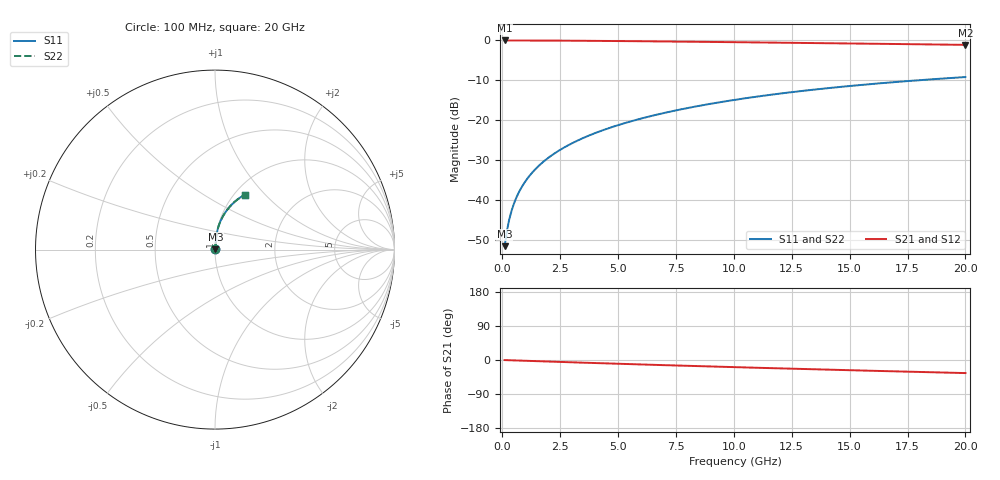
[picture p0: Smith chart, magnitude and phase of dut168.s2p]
! Touchstone file exported from HFSS 2024.1.0
!  File:  C:/UserFiles/LocalFiles/RDL_TSV_Batchsim/temp_RDL_bottom_168_1778698145.aedt
!  Generated:  02:51:33 AM May 14, 2026
!  Design:  RDL_bottom
!  Project:  temp_RDL_bottom_168_1778698145
!  Setup:  Setup1
!  Solution:  Sweep
! Variables:
!  dtsv = 10.80580581um
!  hbump = 3um
!  htsv = 75.31um
!  ldown = 458.76um
!  lrdl = 100um
!  p = 40
!  p1 = 54.25um
!  rhole = 1um
!  t = 450um
!  tdown = 4.39um
!  trdl = 3.915915916um
!  wdown = 20.61um
!  wrdl = 20um
# GHz S MA R 50.000000
! Terminal data exported
! Port[1] = RDL1_T1
! Port[2] = RDL1_T2
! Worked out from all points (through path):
!   200 points, 100 MHz to 20 GHz, reference 50 ohm
!   highest |S21| = -0.02 dB at 100 MHz (marker M1); lowest = -1.1 dB at 20 GHz (marker M2)
!   group delay of S21, straight-line fit = 4.76 ps
!   lowest |S11| = -51.4 dB at 100 MHz (marker M3), VSWR 1.01, Z = 50.2 + j0.184 ohm
!   |S11| at or under -10 dB: start of sweep to 17.89 GHz
!   |S22| runs from -51.4 to -9.2 dB; largest |S21 - S12| = 5.1e-15
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0.1  0.002677 43.1  0.998 -0.2  0.998 -0.2  0.002677 43.1
! Gamma 0 0 0 0
! Port Impedance 50 0 50 0
0.2  0.004154 60.6  0.9979 -0.4  0.9979 -0.4  0.004154 60.6
0.3  0.005774 68.2  0.9978 -0.6  0.9978 -0.6  0.005774 68.2
0.4  0.007416 72.4  0.9977 -0.8  0.9977 -0.8  0.007415 72.4
0.5  0.00906 75.1  0.9975 -1.0  0.9975 -1.0  0.00906 75.1
0.6  0.01071 77.0  0.9974 -1.2  0.9974 -1.2  0.01071 77.0
0.8  0.01402 79.6  0.9972 -1.7  0.9972 -1.7  0.01402 79.6
1.1  0.01902 81.8  0.9967 -2.3  0.9967 -2.3  0.01902 81.9
1.5  0.02576 83.4  0.9959 -3.1  0.9959 -3.1  0.02576 83.4
1.8  0.03086 84.1  0.9952 -3.7  0.9952 -3.7  0.03086 84.1
2.1  0.03599 84.5  0.9943 -4.3  0.9943 -4.3  0.03599 84.5
2.7  0.04634 84.9  0.9923 -5.5  0.9923 -5.5  0.04634 84.9
3.5  0.06035 84.9  0.989 -7.1  0.989 -7.1  0.06035 84.9
4.2  0.0728 84.6  0.9857 -8.4  0.9857 -8.4  0.0728 84.6
5  0.08722 84.0  0.9815 -9.9  0.9815 -9.9  0.08723 84.0
5.9  0.1037 83.1  0.9764 -11.6  0.9764 -11.6  0.1037 83.2
6.8  0.1203 82.1  0.9709 -13.2  0.9709 -13.2  0.1203 82.1
8.4  0.1501 80.0  0.9607 -16.1  0.9607 -16.1  0.1501 80.0
10.1  0.1817 77.4  0.9495 -19.0  0.9495 -19.0  0.1818 77.4
13.4  0.2414 72.1  0.9268 -24.4  0.9268 -24.4  0.2414 72.1
16.7  0.2972 66.7  0.9033 -29.6  0.9033 -29.6  0.2973 66.7
20  0.3481 61.5  0.8793 -34.5  0.8793 -34.5  0.3482 61.5
